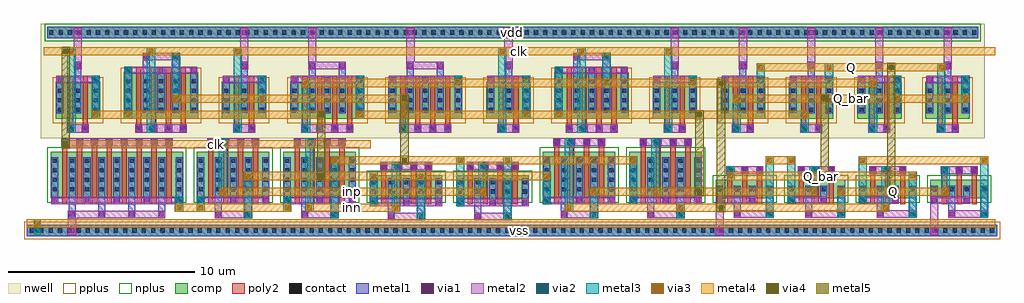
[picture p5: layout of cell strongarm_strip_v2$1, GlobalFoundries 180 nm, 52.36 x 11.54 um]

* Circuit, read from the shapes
.subckt strongarm_strip_v2$1 Q Q_bar clk inn inp vdd vss
XM1 vss clk n1 vss nfet_03v3 w=2.5u l=0.28u m=8
XM2 n2 inp n1 vss nfet_03v3 w=2.5u l=0.28u m=4
XM3 n3 inn n1 vss nfet_03v3 w=2.5u l=0.28u m=4
XM4 n2 inn n2 vss nfet_03v3 w=1.25u l=0.28u m=4
XM5 n3 inp n3 vss nfet_03v3 w=1.25u l=0.28u m=4
XM6 n4 n5 n2 vss nfet_03v3 w=2.5u l=0.28u m=4
XM7 n5 n4 n3 vss nfet_03v3 w=2.5u l=0.28u m=4
XM8 n6 Q_bar vss vss nfet_03v3 w=1u l=0.28u m=3
XM9 Q n4 n6 vss nfet_03v3 w=1u l=0.28u m=3
XM10 Q_bar n5 n7 vss nfet_03v3 w=1u l=0.28u m=3
XM11 n7 Q vss vss nfet_03v3 w=1u l=0.28u m=3
XM12 vdd clk n2 vdd pfet_03v3 w=2u l=0.28u m=2
XM13 n3 clk n2 vdd pfet_03v3 w=2.5u l=0.28u m=4
XM14 vdd clk n3 vdd pfet_03v3 w=2u l=0.28u m=2
XM15 vdd n5 n4 vdd pfet_03v3 w=2u l=0.28u m=4
XM16 vdd n4 n5 vdd pfet_03v3 w=2u l=0.28u m=4
XM17 vdd clk n4 vdd pfet_03v3 w=2u l=0.28u m=2
XM18 n5 clk n4 vdd pfet_03v3 w=2.5u l=0.28u m=4
XM19 vdd clk n5 vdd pfet_03v3 w=2u l=0.28u m=2
XM20 vdd Q_bar Q vdd pfet_03v3 w=2u l=0.28u m=2
XM21 vdd n4 Q vdd pfet_03v3 w=2u l=0.28u m=2
XM22 vdd n5 Q_bar vdd pfet_03v3 w=2u l=0.28u m=2
XM23 vdd Q Q_bar vdd pfet_03v3 w=2u l=0.28u m=2
.ends

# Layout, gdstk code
import gdstk
lib = gdstk.Library(unit=1e-6, precision=1e-09)
def R(c, l, rs):  # rectangles x0, y0, x1, y1
    for r in rs: c.add(gdstk.rectangle(r[:2], r[2:], *l))
def A(c, l, x, y, w, h, nx, ny, dx, dy):  # array of equal rectangles
    R(c, l, [(x+i*dx, y+j*dy, x+i*dx+w, y+j*dy+h) for i in range(nx) for j in range(ny)])
nwell = (21, 0)
comp = (22, 0)
poly2 = (30, 0)
pplus = (31, 0)
nplus = (32, 0)
contact = (33, 0)
metal1 = (34, 0)
via1 = (35, 0)
metal2 = (36, 0)
via2 = (38, 0)
via3 = (40, 0)
via4 = (41, 0)
metal3 = (42, 0)
metal4 = (46, 0)
metal5 = (81, 0)

strongarm_strip_v2_1 = lib.new_cell('strongarm_strip_v2$1')
A(strongarm_strip_v2_1, nwell, 34.02, 6.13, 3.26, 2.88, 5, 1, 3.66, 0)
R(strongarm_strip_v2_1, nwell, [(1.65,5.53,52.27,11.66), (2,6.13,5.26,9.01), (5.66,6.13,10.52,9.51), (10.92,6.13,14.18,9.01), (14.58,6.13,19.44,9.01), (19.84,6.13,24.7,9.01), (25.1,6.13,28.36,9.01), (28.76,6.13,33.62,9.51)])
A(strongarm_strip_v2_1, comp, 38.27, 2.3, 2.26, 1, 4, 1, 3.84, 0)
A(strongarm_strip_v2_1, comp, 34.92, 6.57, 1.46, 2, 5, 1, 3.66, 0)
R(strongarm_strip_v2_1, comp, [(0.9,0.28,52.94,0.88), (2.17,2.3,2.59,4.8), (2.59,2.3,8.85,4.8), (8.85,2.3,9.27,4.8), (10.01,2.3,10.43,4.8), (10.43,2.3,13.49,4.8), (13.49,2.3,13.91,4.8), (14.65,2.3,15.07,4.8), (15.07,2.3,18.13,4.8), (18.13,2.3,18.55,4.8), (19.29,2.3,19.71,3.55), (19.71,2.3,22.77,3.55), (22.77,2.3,23.19,3.55), (23.93,2.3,24.35,3.55), (24.35,2.3,27.41,3.55), (27.41,2.3,27.83,3.55), (28.57,2.3,28.99,4.8), (28.99,2.3,32.05,4.8), (32.05,2.3,32.47,4.8), (33.21,2.3,33.63,4.8), (33.63,2.3,36.69,4.8), (36.69,2.3,37.11,4.8), (37.85,2.3,38.27,3.3), (40.53,2.3,40.95,3.3), (41.69,2.3,42.11,3.3), (44.37,2.3,44.79,3.3), (45.53,2.3,45.95,3.3), (48.21,2.3,48.63,3.3), (49.37,2.3,49.79,3.3), (52.05,2.3,52.47,3.3), (2.44,6.57,2.9,8.57), (2.9,6.57,4.36,8.57), (4.36,6.57,4.82,8.57), (6.1,6.57,6.56,9.07), (6.56,6.57,9.62,9.07), (9.62,6.57,10.08,9.07), (11.36,6.57,11.82,8.57), (11.82,6.57,13.28,8.57), (13.28,6.57,13.74,8.57), (15.02,6.57,15.48,8.57), (15.48,6.57,18.54,8.57), (18.54,6.57,19,8.57), (20.28,6.57,20.74,8.57), (20.74,6.57,23.8,8.57), (23.8,6.57,24.26,8.57), (25.54,6.57,26,8.57), (26,6.57,27.46,8.57), (27.46,6.57,27.92,8.57), (29.2,6.57,29.66,9.07), (29.66,6.57,32.72,9.07), (32.72,6.57,33.18,9.07), (34.46,6.57,34.92,8.57), (36.38,6.57,36.84,8.57), (38.12,6.57,38.58,8.57), (40.04,6.57,40.5,8.57), (41.78,6.57,42.24,8.57), (43.7,6.57,44.16,8.57), (45.44,6.57,45.9,8.57), (47.36,6.57,47.82,8.57), (49.1,6.57,49.56,8.57), (51.02,6.57,51.48,8.57), (2,10.9,51.92,11.5)])
A(strongarm_strip_v2_1, poly2, 2.78, 2, 0.28, 3.1, 8, 1, 0.8, 0)
A(strongarm_strip_v2_1, poly2, 10.62, 2, 0.28, 3.1, 4, 1, 0.8, 0)
A(strongarm_strip_v2_1, poly2, 15.26, 2, 0.28, 3.1, 4, 1, 0.8, 0)
A(strongarm_strip_v2_1, poly2, 19.9, 2, 0.28, 1.85, 4, 1, 0.8, 0)
A(strongarm_strip_v2_1, poly2, 24.54, 2, 0.28, 1.85, 4, 1, 0.8, 0)
A(strongarm_strip_v2_1, poly2, 29.18, 2, 0.28, 3.1, 4, 1, 0.8, 0)
A(strongarm_strip_v2_1, poly2, 33.82, 2, 0.28, 3.1, 4, 1, 0.8, 0)
A(strongarm_strip_v2_1, poly2, 38.46, 2, 0.28, 1.6, 3, 1, 0.8, 0)
A(strongarm_strip_v2_1, poly2, 42.3, 2, 0.28, 1.6, 3, 1, 0.8, 0)
A(strongarm_strip_v2_1, poly2, 46.14, 2, 0.28, 1.6, 3, 1, 0.8, 0)
A(strongarm_strip_v2_1, poly2, 49.98, 2, 0.28, 1.6, 3, 1, 0.8, 0)
A(strongarm_strip_v2_1, poly2, 38.42, 3.6, 0.36, 0.36, 3, 1, 0.8, 0)
A(strongarm_strip_v2_1, poly2, 42.26, 3.6, 0.36, 0.36, 3, 1, 0.8, 0)
A(strongarm_strip_v2_1, poly2, 46.1, 3.6, 0.36, 0.36, 3, 1, 0.8, 0)
A(strongarm_strip_v2_1, poly2, 49.94, 3.6, 0.36, 0.36, 3, 1, 0.8, 0)
A(strongarm_strip_v2_1, poly2, 19.86, 3.85, 0.36, 0.36, 4, 1, 0.8, 0)
A(strongarm_strip_v2_1, poly2, 24.5, 3.85, 0.36, 0.36, 4, 1, 0.8, 0)
A(strongarm_strip_v2_1, poly2, 2.74, 5.1, 0.36, 0.36, 8, 1, 0.8, 0)
A(strongarm_strip_v2_1, poly2, 10.58, 5.1, 0.36, 0.36, 4, 1, 0.8, 0)
A(strongarm_strip_v2_1, poly2, 15.22, 5.1, 0.36, 0.36, 4, 1, 0.8, 0)
A(strongarm_strip_v2_1, poly2, 29.14, 5.1, 0.36, 0.36, 4, 1, 0.8, 0)
A(strongarm_strip_v2_1, poly2, 33.78, 5.1, 0.36, 0.36, 4, 1, 0.8, 0)
A(strongarm_strip_v2_1, poly2, 6.7, 5.89, 0.38, 0.38, 4, 1, 0.8, 0)
A(strongarm_strip_v2_1, poly2, 15.62, 5.89, 0.38, 0.38, 4, 1, 0.8, 0)
A(strongarm_strip_v2_1, poly2, 20.88, 5.89, 0.38, 0.38, 4, 1, 0.8, 0)
A(strongarm_strip_v2_1, poly2, 29.8, 5.89, 0.38, 0.38, 4, 1, 0.8, 0)
A(strongarm_strip_v2_1, poly2, 6.75, 6.27, 0.28, 3.1, 4, 1, 0.8, 0)
A(strongarm_strip_v2_1, poly2, 15.67, 6.27, 0.28, 2.6, 4, 1, 0.8, 0)
A(strongarm_strip_v2_1, poly2, 20.93, 6.27, 0.28, 2.6, 4, 1, 0.8, 0)
A(strongarm_strip_v2_1, poly2, 29.85, 6.27, 0.28, 3.1, 4, 1, 0.8, 0)
R(strongarm_strip_v2_1, poly2, [(3.04,5.89,3.42,6.27), (3.84,5.89,4.22,6.27), (11.96,5.89,12.34,6.27), (12.76,5.89,13.14,6.27), (26.14,5.89,26.52,6.27), (26.94,5.89,27.32,6.27), (35.06,5.89,35.44,6.27), (35.86,5.89,36.24,6.27), (38.72,5.89,39.1,6.27), (39.52,5.89,39.9,6.27), (42.38,5.89,42.76,6.27), (43.18,5.89,43.56,6.27), (46.04,5.89,46.42,6.27), (46.84,5.89,47.22,6.27), (49.7,5.89,50.08,6.27), (50.5,5.89,50.88,6.27), (3.09,6.27,3.37,8.87), (3.89,6.27,4.17,8.87), (12.01,6.27,12.29,8.87), (12.81,6.27,13.09,8.87), (26.19,6.27,26.47,8.87), (26.99,6.27,27.27,8.87), (35.11,6.27,35.39,8.87), (35.91,6.27,36.19,8.87), (38.77,6.27,39.05,8.87), (39.57,6.27,39.85,8.87), (42.43,6.27,42.71,8.87), (43.23,6.27,43.51,8.87), (46.09,6.27,46.37,8.87), (46.89,6.27,47.17,8.87), (49.75,6.27,50.03,8.87), (50.55,6.27,50.83,8.87)])
A(strongarm_strip_v2_1, pplus, 34.29, 6.33, 2.72, 2.48, 5, 1, 3.66, 0)
R(strongarm_strip_v2_1, pplus, [(0.74,0.12,53.1,1.04), (2.27,6.33,4.99,8.81), (5.93,6.33,10.25,9.31), (11.19,6.33,13.91,8.81), (14.85,6.33,19.17,8.81), (20.11,6.33,24.43,8.81), (25.37,6.33,28.09,8.81), (29.03,6.33,33.35,9.31)])
A(strongarm_strip_v2_1, nplus, 37.68, 2.06, 3.44, 1.48, 4, 1, 3.84, 0)
R(strongarm_strip_v2_1, nplus, [(2,2.06,9.44,5.04), (9.84,2.06,14.08,5.04), (14.48,2.06,18.72,5.04), (19.12,2.06,23.36,3.79), (23.76,2.06,28,3.79), (28.4,2.06,32.64,5.04), (33.04,2.06,37.28,5.04), (1.84,10.74,52.08,11.66)])
A(strongarm_strip_v2_1, contact, 1.06, 0.47, 0.22, 0.22, 104, 1, 0.5, 0)
A(strongarm_strip_v2_1, contact, 20.33, 2.56, 0.22, 0.22, 3, 2, 0.8, 0.51)
A(strongarm_strip_v2_1, contact, 24.97, 2.56, 0.22, 0.22, 3, 2, 0.8, 0.51)
A(strongarm_strip_v2_1, contact, 2.27, 2.675, 0.22, 0.22, 1, 4, 0, 0.51)
A(strongarm_strip_v2_1, contact, 3.21, 2.675, 0.22, 0.22, 7, 4, 0.8, 0.51)
A(strongarm_strip_v2_1, contact, 8.95, 2.675, 0.22, 0.22, 1, 4, 0, 0.51)
A(strongarm_strip_v2_1, contact, 10.11, 2.675, 0.22, 0.22, 1, 4, 0, 0.51)
A(strongarm_strip_v2_1, contact, 11.05, 2.675, 0.22, 0.22, 3, 4, 0.8, 0.51)
A(strongarm_strip_v2_1, contact, 13.59, 2.675, 0.22, 0.22, 1, 4, 0, 0.51)
A(strongarm_strip_v2_1, contact, 14.75, 2.675, 0.22, 0.22, 1, 4, 0, 0.51)
A(strongarm_strip_v2_1, contact, 15.69, 2.675, 0.22, 0.22, 3, 4, 0.8, 0.51)
A(strongarm_strip_v2_1, contact, 18.23, 2.675, 0.22, 0.22, 1, 4, 0, 0.51)
A(strongarm_strip_v2_1, contact, 28.67, 2.675, 0.22, 0.22, 1, 4, 0, 0.51)
A(strongarm_strip_v2_1, contact, 29.61, 2.675, 0.22, 0.22, 3, 4, 0.8, 0.51)
A(strongarm_strip_v2_1, contact, 32.15, 2.675, 0.22, 0.22, 1, 4, 0, 0.51)
A(strongarm_strip_v2_1, contact, 33.31, 2.675, 0.22, 0.22, 1, 4, 0, 0.51)
A(strongarm_strip_v2_1, contact, 34.25, 2.675, 0.22, 0.22, 3, 4, 0.8, 0.51)
A(strongarm_strip_v2_1, contact, 36.79, 2.675, 0.22, 0.22, 1, 4, 0, 0.51)
A(strongarm_strip_v2_1, contact, 38.49, 3.67, 0.22, 0.22, 3, 1, 0.8, 0)
A(strongarm_strip_v2_1, contact, 42.33, 3.67, 0.22, 0.22, 3, 1, 0.8, 0)
A(strongarm_strip_v2_1, contact, 46.17, 3.67, 0.22, 0.22, 3, 1, 0.8, 0)
A(strongarm_strip_v2_1, contact, 50.01, 3.67, 0.22, 0.22, 3, 1, 0.8, 0)
A(strongarm_strip_v2_1, contact, 19.93, 3.92, 0.22, 0.22, 4, 1, 0.8, 0)
A(strongarm_strip_v2_1, contact, 24.57, 3.92, 0.22, 0.22, 4, 1, 0.8, 0)
A(strongarm_strip_v2_1, contact, 2.81, 5.17, 0.22, 0.22, 8, 1, 0.8, 0)
A(strongarm_strip_v2_1, contact, 10.65, 5.17, 0.22, 0.22, 4, 1, 0.8, 0)
A(strongarm_strip_v2_1, contact, 15.29, 5.17, 0.22, 0.22, 4, 1, 0.8, 0)
A(strongarm_strip_v2_1, contact, 29.21, 5.17, 0.22, 0.22, 4, 1, 0.8, 0)
A(strongarm_strip_v2_1, contact, 33.85, 5.17, 0.22, 0.22, 4, 1, 0.8, 0)
A(strongarm_strip_v2_1, contact, 6.78, 5.97, 0.22, 0.22, 4, 1, 0.8, 0)
A(strongarm_strip_v2_1, contact, 15.7, 5.97, 0.22, 0.22, 4, 1, 0.8, 0)
A(strongarm_strip_v2_1, contact, 20.96, 5.97, 0.22, 0.22, 4, 1, 0.8, 0)
A(strongarm_strip_v2_1, contact, 29.88, 5.97, 0.22, 0.22, 4, 1, 0.8, 0)
A(strongarm_strip_v2_1, contact, 6.22, 6.945, 0.22, 0.22, 1, 4, 0, 0.51)
A(strongarm_strip_v2_1, contact, 7.18, 6.945, 0.22, 0.22, 3, 4, 0.8, 0.51)
A(strongarm_strip_v2_1, contact, 9.74, 6.945, 0.22, 0.22, 1, 4, 0, 0.51)
A(strongarm_strip_v2_1, contact, 29.32, 6.945, 0.22, 0.22, 1, 4, 0, 0.51)
A(strongarm_strip_v2_1, contact, 30.28, 6.945, 0.22, 0.22, 3, 4, 0.8, 0.51)
A(strongarm_strip_v2_1, contact, 32.84, 6.945, 0.22, 0.22, 1, 4, 0, 0.51)
A(strongarm_strip_v2_1, contact, 2.56, 6.95, 0.22, 0.22, 3, 3, 0.96, 0.51)
A(strongarm_strip_v2_1, contact, 11.48, 6.95, 0.22, 0.22, 3, 3, 0.96, 0.51)
A(strongarm_strip_v2_1, contact, 15.14, 6.95, 0.22, 0.22, 1, 3, 0, 0.51)
A(strongarm_strip_v2_1, contact, 16.1, 6.95, 0.22, 0.22, 3, 3, 0.8, 0.51)
A(strongarm_strip_v2_1, contact, 18.66, 6.95, 0.22, 0.22, 1, 3, 0, 0.51)
A(strongarm_strip_v2_1, contact, 20.4, 6.95, 0.22, 0.22, 1, 3, 0, 0.51)
A(strongarm_strip_v2_1, contact, 21.36, 6.95, 0.22, 0.22, 3, 3, 0.8, 0.51)
A(strongarm_strip_v2_1, contact, 23.92, 6.95, 0.22, 0.22, 1, 3, 0, 0.51)
A(strongarm_strip_v2_1, contact, 25.66, 6.95, 0.22, 0.22, 3, 3, 0.96, 0.51)
A(strongarm_strip_v2_1, contact, 34.58, 6.95, 0.22, 0.22, 3, 3, 0.96, 0.51)
A(strongarm_strip_v2_1, contact, 38.24, 6.95, 0.22, 0.22, 3, 3, 0.96, 0.51)
A(strongarm_strip_v2_1, contact, 41.9, 6.95, 0.22, 0.22, 3, 3, 0.96, 0.51)
A(strongarm_strip_v2_1, contact, 45.56, 6.95, 0.22, 0.22, 3, 3, 0.96, 0.51)
A(strongarm_strip_v2_1, contact, 49.22, 6.95, 0.22, 0.22, 3, 3, 0.96, 0.51)
A(strongarm_strip_v2_1, contact, 2.1, 11.09, 0.22, 0.22, 100, 1, 0.5, 0)
R(strongarm_strip_v2_1, contact, [(19.39,2.56,19.61,2.78), (22.87,2.56,23.09,2.78), (24.03,2.56,24.25,2.78), (27.51,2.56,27.73,2.78), (37.95,2.69,38.17,2.91), (38.89,2.69,39.11,2.91), (39.69,2.69,39.91,2.91), (40.63,2.69,40.85,2.91), (41.79,2.69,42.01,2.91), (42.73,2.69,42.95,2.91), (43.53,2.69,43.75,2.91), (44.47,2.69,44.69,2.91), (45.63,2.69,45.85,2.91), (46.57,2.69,46.79,2.91), (47.37,2.69,47.59,2.91), (48.31,2.69,48.53,2.91), (49.47,2.69,49.69,2.91), (50.41,2.69,50.63,2.91), (51.21,2.69,51.43,2.91), (52.15,2.69,52.37,2.91), (19.39,3.07,19.61,3.29), (22.87,3.07,23.09,3.29), (24.03,3.07,24.25,3.29), (27.51,3.07,27.73,3.29), (3.12,5.97,3.34,6.19), (3.92,5.97,4.14,6.19), (12.04,5.97,12.26,6.19), (12.84,5.97,13.06,6.19), (26.22,5.97,26.44,6.19), (27.02,5.97,27.24,6.19), (35.14,5.97,35.36,6.19), (35.94,5.97,36.16,6.19), (38.8,5.97,39.02,6.19), (39.6,5.97,39.82,6.19), (42.46,5.97,42.68,6.19), (43.26,5.97,43.48,6.19), (46.12,5.97,46.34,6.19), (46.92,5.97,47.14,6.19), (49.78,5.97,50,6.19), (50.58,5.97,50.8,6.19)])
A(strongarm_strip_v2_1, metal1, 3.13, 1.245, 0.38, 1.4, 4, 1, 1.6, 0)
A(strongarm_strip_v2_1, metal1, 19.31, 1.88, 0.38, 0.65, 3, 1, 1.74, 0)
A(strongarm_strip_v2_1, metal1, 23.95, 1.88, 0.38, 0.65, 3, 1, 1.74, 0)
A(strongarm_strip_v2_1, metal1, 3.93, 1.995, 0.38, 0.65, 3, 1, 1.6, 0)
A(strongarm_strip_v2_1, metal1, 10.03, 1.995, 0.38, 0.65, 3, 1, 1.74, 0)
A(strongarm_strip_v2_1, metal1, 14.67, 1.995, 0.38, 0.65, 3, 1, 1.74, 0)
A(strongarm_strip_v2_1, metal1, 28.59, 1.995, 0.38, 0.65, 3, 1, 1.74, 0)
A(strongarm_strip_v2_1, metal1, 33.23, 1.995, 0.38, 0.65, 3, 1, 1.74, 0)
A(strongarm_strip_v2_1, metal1, 20.25, 2.48, 0.38, 0.89, 3, 1, 0.8, 0)
A(strongarm_strip_v2_1, metal1, 24.89, 2.48, 0.38, 0.89, 3, 1, 0.8, 0)
A(strongarm_strip_v2_1, metal1, 3.13, 2.595, 0.38, 1.91, 7, 1, 0.8, 0)
A(strongarm_strip_v2_1, metal1, 10.97, 2.595, 0.38, 1.91, 3, 1, 0.8, 0)
A(strongarm_strip_v2_1, metal1, 15.61, 2.595, 0.38, 1.91, 3, 1, 0.8, 0)
A(strongarm_strip_v2_1, metal1, 29.53, 2.595, 0.38, 1.91, 3, 1, 0.8, 0)
A(strongarm_strip_v2_1, metal1, 34.17, 2.595, 0.38, 1.91, 3, 1, 0.8, 0)
A(strongarm_strip_v2_1, metal1, 38.41, 3.59, 0.38, 0.38, 3, 1, 0.8, 0)
A(strongarm_strip_v2_1, metal1, 42.25, 3.59, 0.38, 0.38, 3, 1, 0.8, 0)
A(strongarm_strip_v2_1, metal1, 46.09, 3.59, 0.38, 0.38, 3, 1, 0.8, 0)
A(strongarm_strip_v2_1, metal1, 49.93, 3.59, 0.38, 0.38, 3, 1, 0.8, 0)
A(strongarm_strip_v2_1, metal1, 19.85, 3.84, 0.38, 0.38, 4, 1, 0.8, 0)
A(strongarm_strip_v2_1, metal1, 24.49, 3.84, 0.38, 0.38, 4, 1, 0.8, 0)
A(strongarm_strip_v2_1, metal1, 2.73, 5.09, 0.38, 0.38, 8, 1, 0.8, 0)
A(strongarm_strip_v2_1, metal1, 10.57, 5.09, 0.38, 0.38, 4, 1, 0.8, 0)
A(strongarm_strip_v2_1, metal1, 15.21, 5.09, 0.38, 0.38, 4, 1, 0.8, 0)
A(strongarm_strip_v2_1, metal1, 29.13, 5.09, 0.38, 0.38, 4, 1, 0.8, 0)
A(strongarm_strip_v2_1, metal1, 33.77, 5.09, 0.38, 0.38, 4, 1, 0.8, 0)
A(strongarm_strip_v2_1, metal1, 6.7, 5.89, 0.38, 0.38, 4, 1, 0.8, 0)
A(strongarm_strip_v2_1, metal1, 15.62, 5.89, 0.38, 0.38, 4, 1, 0.8, 0)
A(strongarm_strip_v2_1, metal1, 20.88, 5.89, 0.38, 0.38, 4, 1, 0.8, 0)
A(strongarm_strip_v2_1, metal1, 29.8, 5.89, 0.38, 0.38, 4, 1, 0.8, 0)
A(strongarm_strip_v2_1, metal1, 7.1, 6.865, 0.38, 1.91, 3, 1, 0.8, 0)
A(strongarm_strip_v2_1, metal1, 30.2, 6.865, 0.38, 1.91, 3, 1, 0.8, 0)
A(strongarm_strip_v2_1, metal1, 2.48, 6.87, 0.38, 1.4, 3, 1, 0.96, 0)
A(strongarm_strip_v2_1, metal1, 11.4, 6.87, 0.38, 1.4, 3, 1, 0.96, 0)
A(strongarm_strip_v2_1, metal1, 16.02, 6.87, 0.38, 1.4, 3, 1, 0.8, 0)
A(strongarm_strip_v2_1, metal1, 21.28, 6.87, 0.38, 1.4, 3, 1, 0.8, 0)
A(strongarm_strip_v2_1, metal1, 25.58, 6.87, 0.38, 1.4, 3, 1, 0.96, 0)
A(strongarm_strip_v2_1, metal1, 34.5, 6.87, 0.38, 1.4, 3, 1, 0.96, 0)
A(strongarm_strip_v2_1, metal1, 38.16, 6.87, 0.38, 1.4, 3, 1, 0.96, 0)
A(strongarm_strip_v2_1, metal1, 41.82, 6.87, 0.38, 1.4, 3, 1, 0.96, 0)
A(strongarm_strip_v2_1, metal1, 45.48, 6.87, 0.38, 1.4, 3, 1, 0.96, 0)
A(strongarm_strip_v2_1, metal1, 49.14, 6.87, 0.38, 1.4, 3, 1, 0.96, 0)
A(strongarm_strip_v2_1, metal1, 15.06, 8.22, 0.38, 0.65, 3, 1, 1.76, 0)
A(strongarm_strip_v2_1, metal1, 20.32, 8.22, 0.38, 0.65, 3, 1, 1.76, 0)
A(strongarm_strip_v2_1, metal1, 35.46, 8.22, 0.38, 1.4, 5, 1, 3.66, 0)
A(strongarm_strip_v2_1, metal1, 6.14, 8.725, 0.38, 0.65, 3, 1, 1.76, 0)
A(strongarm_strip_v2_1, metal1, 29.24, 8.725, 0.38, 0.65, 3, 1, 1.76, 0)
R(strongarm_strip_v2_1, metal1, [(0.9,0.28,52.94,0.88), (20.25,1.13,20.63,2.53), (21.85,1.13,22.23,2.53), (24.89,1.13,25.27,2.53), (26.49,1.13,26.87,2.53), (10.97,1.245,11.35,2.645), (12.57,1.245,12.95,2.645), (15.61,1.245,15.99,2.645), (17.21,1.245,17.59,2.645), (29.53,1.245,29.91,2.645), (31.13,1.245,31.51,2.645), (34.17,1.245,34.55,2.645), (35.77,1.245,36.15,2.645), (38.81,1.26,39.19,2.66), (40.55,1.26,40.93,2.66), (42.65,1.26,43.03,2.66), (44.39,1.26,44.77,2.66), (46.49,1.26,46.87,2.66), (48.23,1.26,48.61,2.66), (50.33,1.26,50.71,2.66), (52.07,1.26,52.45,2.66), (2.19,1.995,2.57,2.645), (8.87,1.995,9.25,2.645), (37.87,2.01,38.25,2.66), (39.61,2.01,39.99,2.66), (41.71,2.01,42.09,2.66), (43.45,2.01,43.83,2.66), (45.55,2.01,45.93,2.66), (47.29,2.01,47.67,2.66), (49.39,2.01,49.77,2.66), (51.13,2.01,51.51,2.66), (19.31,2.48,19.69,3.37), (22.79,2.48,23.17,3.37), (23.95,2.48,24.33,3.37), (27.43,2.48,27.81,3.37), (2.19,2.595,2.57,4.505), (8.87,2.595,9.25,4.505), (10.03,2.595,10.41,4.505), (13.51,2.595,13.89,4.505), (14.67,2.595,15.05,4.505), (18.15,2.595,18.53,4.505), (28.59,2.595,28.97,4.505), (32.07,2.595,32.45,4.505), (33.23,2.595,33.61,4.505), (36.71,2.595,37.09,4.505), (37.87,2.61,38.25,2.99), (38.81,2.61,39.19,2.99), (39.61,2.61,39.99,2.99), (40.55,2.61,40.93,2.99), (41.71,2.61,42.09,2.99), (42.65,2.61,43.03,2.99), (43.45,2.61,43.83,2.99), (44.39,2.61,44.77,2.99), (45.55,2.61,45.93,2.99), (46.49,2.61,46.87,2.99), (47.29,2.61,47.67,2.99), (48.23,2.61,48.61,2.99), (49.39,2.61,49.77,2.99), (50.33,2.61,50.71,2.99), (51.13,2.61,51.51,2.99), (52.07,2.61,52.45,2.99), (3.04,5.89,3.42,6.27), (3.84,5.89,4.22,6.27), (11.96,5.89,12.34,6.27), (12.76,5.89,13.14,6.27), (26.14,5.89,26.52,6.27), (26.94,5.89,27.32,6.27), (35.06,5.89,35.44,6.27), (35.86,5.89,36.24,6.27), (38.72,5.89,39.1,6.27), (39.52,5.89,39.9,6.27), (42.38,5.89,42.76,6.27), (43.18,5.89,43.56,6.27), (46.04,5.89,46.42,6.27), (46.84,5.89,47.22,6.27), (49.7,5.89,50.08,6.27), (50.5,5.89,50.88,6.27), (6.14,6.865,6.52,8.775), (9.66,6.865,10.04,8.775), (29.24,6.865,29.62,8.775), (32.76,6.865,33.14,8.775), (15.06,6.87,15.44,8.27), (18.58,6.87,18.96,8.27), (20.32,6.87,20.7,8.27), (23.84,6.87,24.22,8.27), (2.48,8.22,2.86,8.87), (3.44,8.22,3.82,9.62), (4.4,8.22,4.78,8.87), (11.4,8.22,11.78,8.87), (12.36,8.22,12.74,9.62), (13.32,8.22,13.7,8.87), (16.02,8.22,16.4,9.62), (17.62,8.22,18,9.62), (21.28,8.22,21.66,9.62), (22.88,8.22,23.26,9.62), (25.58,8.22,25.96,8.87), (26.54,8.22,26.92,9.62), (27.5,8.22,27.88,8.87), (34.5,8.22,34.88,8.87), (36.42,8.22,36.8,8.87), (38.16,8.22,38.54,8.87), (40.08,8.22,40.46,8.87), (41.82,8.22,42.2,8.87), (43.74,8.22,44.12,8.87), (45.48,8.22,45.86,8.87), (47.4,8.22,47.78,8.87), (49.14,8.22,49.52,8.87), (51.06,8.22,51.44,8.87), (7.1,8.725,7.48,10.125), (8.7,8.725,9.08,10.125), (30.2,8.725,30.58,10.125), (31.8,8.725,32.18,10.125), (2,10.9,51.92,11.5)])
A(strongarm_strip_v2_1, via1, 3.19, 1.315, 0.26, 0.26, 4, 1, 1.6, 0)
A(strongarm_strip_v2_1, via1, 19.37, 1.95, 0.26, 0.26, 3, 1, 1.74, 0)
A(strongarm_strip_v2_1, via1, 24.01, 1.95, 0.26, 0.26, 3, 1, 1.74, 0)
A(strongarm_strip_v2_1, via1, 3.99, 2.065, 0.26, 0.26, 3, 1, 1.6, 0)
A(strongarm_strip_v2_1, via1, 10.09, 2.065, 0.26, 0.26, 3, 1, 1.74, 0)
A(strongarm_strip_v2_1, via1, 14.73, 2.065, 0.26, 0.26, 3, 1, 1.74, 0)
A(strongarm_strip_v2_1, via1, 28.65, 2.065, 0.26, 0.26, 3, 1, 1.74, 0)
A(strongarm_strip_v2_1, via1, 33.29, 2.065, 0.26, 0.26, 3, 1, 1.74, 0)
A(strongarm_strip_v2_1, via1, 38.47, 3.65, 0.26, 0.26, 3, 1, 0.8, 0)
A(strongarm_strip_v2_1, via1, 42.31, 3.65, 0.26, 0.26, 3, 1, 0.8, 0)
A(strongarm_strip_v2_1, via1, 46.15, 3.65, 0.26, 0.26, 3, 1, 0.8, 0)
A(strongarm_strip_v2_1, via1, 49.99, 3.65, 0.26, 0.26, 3, 1, 0.8, 0)
A(strongarm_strip_v2_1, via1, 19.91, 3.9, 0.26, 0.26, 4, 1, 0.8, 0)
A(strongarm_strip_v2_1, via1, 24.55, 3.9, 0.26, 0.26, 4, 1, 0.8, 0)
A(strongarm_strip_v2_1, via1, 2.79, 5.15, 0.26, 0.26, 8, 1, 0.8, 0)
A(strongarm_strip_v2_1, via1, 10.63, 5.15, 0.26, 0.26, 4, 1, 0.8, 0)
A(strongarm_strip_v2_1, via1, 15.27, 5.15, 0.26, 0.26, 4, 1, 0.8, 0)
A(strongarm_strip_v2_1, via1, 29.19, 5.15, 0.26, 0.26, 4, 1, 0.8, 0)
A(strongarm_strip_v2_1, via1, 33.83, 5.15, 0.26, 0.26, 4, 1, 0.8, 0)
A(strongarm_strip_v2_1, via1, 6.76, 5.95, 0.26, 0.26, 4, 1, 0.8, 0)
A(strongarm_strip_v2_1, via1, 15.68, 5.95, 0.26, 0.26, 4, 1, 0.8, 0)
A(strongarm_strip_v2_1, via1, 20.94, 5.95, 0.26, 0.26, 4, 1, 0.8, 0)
A(strongarm_strip_v2_1, via1, 29.86, 5.95, 0.26, 0.26, 4, 1, 0.8, 0)
A(strongarm_strip_v2_1, via1, 15.12, 8.54, 0.26, 0.26, 3, 1, 1.76, 0)
A(strongarm_strip_v2_1, via1, 20.38, 8.54, 0.26, 0.26, 3, 1, 1.76, 0)
A(strongarm_strip_v2_1, via1, 6.2, 9.045, 0.26, 0.26, 3, 1, 1.76, 0)
A(strongarm_strip_v2_1, via1, 29.3, 9.045, 0.26, 0.26, 3, 1, 1.76, 0)
A(strongarm_strip_v2_1, via1, 35.52, 9.29, 0.26, 0.26, 5, 2, 3.66, 1.78)
A(strongarm_strip_v2_1, via1, 16.08, 11.07, 0.26, 0.26, 3, 1, 5.26, 0)
R(strongarm_strip_v2_1, via1, [(1.32,0.45,1.58,0.71), (3.19,0.45,3.45,0.71), (37.93,0.45,38.19,0.71), (49.45,0.45,49.71,0.71), (20.31,1.2,20.57,1.46), (21.91,1.2,22.17,1.46), (24.95,1.2,25.21,1.46), (26.55,1.2,26.81,1.46), (11.03,1.315,11.29,1.575), (12.63,1.315,12.89,1.575), (15.67,1.315,15.93,1.575), (17.27,1.315,17.53,1.575), (29.59,1.315,29.85,1.575), (31.19,1.315,31.45,1.575), (34.23,1.315,34.49,1.575), (35.83,1.315,36.09,1.575), (38.87,1.33,39.13,1.59), (40.61,1.33,40.87,1.59), (42.71,1.33,42.97,1.59), (44.45,1.33,44.71,1.59), (46.55,1.33,46.81,1.59), (48.29,1.33,48.55,1.59), (50.39,1.33,50.65,1.59), (52.13,1.33,52.39,1.59), (2.25,2.065,2.51,2.325), (8.93,2.065,9.19,2.325), (37.93,2.08,38.19,2.34), (39.67,2.08,39.93,2.34), (41.77,2.08,42.03,2.34), (43.51,2.08,43.77,2.34), (45.61,2.08,45.87,2.34), (47.35,2.08,47.61,2.34), (49.45,2.08,49.71,2.34), (51.19,2.08,51.45,2.34), (3.1,5.95,3.36,6.21), (3.9,5.95,4.16,6.21), (12.02,5.95,12.28,6.21), (12.82,5.95,13.08,6.21), (26.2,5.95,26.46,6.21), (27,5.95,27.26,6.21), (35.12,5.95,35.38,6.21), (35.92,5.95,36.18,6.21), (38.78,5.95,39.04,6.21), (39.58,5.95,39.84,6.21), (42.44,5.95,42.7,6.21), (43.24,5.95,43.5,6.21), (46.1,5.95,46.36,6.21), (46.9,5.95,47.16,6.21), (49.76,5.95,50.02,6.21), (50.56,5.95,50.82,6.21), (2.54,8.54,2.8,8.8), (4.46,8.54,4.72,8.8), (11.46,8.54,11.72,8.8), (13.38,8.54,13.64,8.8), (25.64,8.54,25.9,8.8), (27.56,8.54,27.82,8.8), (34.56,8.54,34.82,8.8), (36.48,8.54,36.74,8.8), (38.22,8.54,38.48,8.8), (40.14,8.54,40.4,8.8), (41.88,8.54,42.14,8.8), (43.8,8.54,44.06,8.8), (45.54,8.54,45.8,8.8), (47.46,8.54,47.72,8.8), (49.2,8.54,49.46,8.8), (51.12,8.54,51.38,8.8), (3.5,9.29,3.76,9.55), (12.42,9.29,12.68,9.55), (16.08,9.29,16.34,9.55), (17.68,9.29,17.94,9.55), (21.34,9.29,21.6,9.55), (22.94,9.29,23.2,9.55), (26.6,9.29,26.86,9.55), (7.16,9.795,7.42,10.055), (8.76,9.795,9.02,10.055), (30.26,9.795,30.52,10.055), (31.86,9.795,32.12,10.055), (3.5,11.07,3.76,11.33), (12.42,11.07,12.68,11.33)])
A(strongarm_strip_v2_1, metal2, 38.81, 1.26, 2.12, 0.4, 4, 1, 3.84, 0)
A(strongarm_strip_v2_1, metal2, 37.87, 2.01, 2.12, 0.4, 4, 1, 3.84, 0)
A(strongarm_strip_v2_1, metal2, 38.41, 3.59, 1.98, 0.44, 4, 1, 3.84, 0)
A(strongarm_strip_v2_1, metal2, 35.06, 5.83, 1.18, 0.44, 5, 1, 3.66, 0)
A(strongarm_strip_v2_1, metal2, 34.5, 8.47, 2.3, 0.4, 5, 1, 3.66, 0)
A(strongarm_strip_v2_1, metal2, 15.99, 9.22, 0.44, 2.23, 3, 1, 5.26, 0)
A(strongarm_strip_v2_1, metal2, 35.43, 9.22, 0.44, 2.23, 5, 1, 3.66, 0)
A(strongarm_strip_v2_1, metal2, 35.46, 9.22, 0.38, 0.4, 5, 1, 3.66, 0)
R(strongarm_strip_v2_1, metal2, [(3.1,0.33,3.54,1.645), (37.84,0.33,38.28,2.41), (49.36,0.33,49.8,2.41), (1.25,0.36,1.65,1.17), (20.25,1.13,22.23,1.53), (24.89,1.13,26.87,1.53), (3.13,1.245,8.31,1.645), (10.97,1.245,12.95,1.645), (15.61,1.245,17.59,1.645), (29.53,1.245,31.51,1.645), (34.17,1.245,36.15,1.645), (19.31,1.88,23.17,2.28), (23.95,1.88,27.81,2.28), (2.19,1.995,9.25,2.395), (10.03,1.995,13.89,2.395), (14.67,1.995,18.53,2.395), (28.59,1.995,32.45,2.395), (33.23,1.995,37.09,2.395), (19.85,3.84,22.63,4.28), (24.49,3.84,27.27,4.28), (2.73,5.09,8.71,5.53), (10.57,5.09,13.35,5.53), (15.21,5.09,17.99,5.53), (29.13,5.09,31.91,5.53), (33.77,5.09,36.55,5.53), (3.04,5.83,4.22,6.27), (6.7,5.83,9.48,6.27), (11.96,5.83,13.14,6.27), (15.62,5.83,18.4,6.27), (20.88,5.83,23.66,6.27), (26.14,5.83,27.32,6.27), (29.8,5.83,32.58,6.27), (2.48,8.47,4.78,8.87), (11.4,8.47,13.7,8.87), (15.06,8.47,18.96,8.87), (20.32,8.47,24.22,8.87), (25.58,8.47,27.88,8.87), (6.14,8.975,10.04,9.375), (29.24,8.975,33.14,9.375), (3.41,9.22,3.85,11.45), (3.44,9.22,3.82,9.62), (12.33,9.22,12.77,11.45), (12.36,9.22,12.74,9.62), (16.02,9.22,18,9.62), (21.28,9.22,23.26,9.62), (26.54,9.22,26.92,9.62), (7.1,9.725,9.08,10.125), (30.2,9.725,32.18,10.125)])
A(strongarm_strip_v2_1, via2, 40.61, 1.33, 0.26, 0.26, 4, 1, 3.84, 0)
A(strongarm_strip_v2_1, via2, 15.74, 5.92, 0.26, 0.26, 3, 1, 5.26, 0)
A(strongarm_strip_v2_1, via2, 35.18, 5.92, 0.26, 0.26, 5, 1, 3.66, 0)
A(strongarm_strip_v2_1, via2, 13.38, 8.54, 0.26, 0.26, 3, 1, 5.26, 0)
A(strongarm_strip_v2_1, via2, 36.48, 8.54, 0.26, 0.26, 5, 1, 3.66, 0)
R(strongarm_strip_v2_1, via2, [(1.32,0.45,1.58,0.71), (21.91,1.2,22.17,1.46), (26.55,1.2,26.81,1.46), (12.63,1.315,12.89,1.575), (17.27,1.315,17.53,1.575), (31.19,1.315,31.45,1.575), (35.83,1.315,36.09,1.575), (19.37,1.95,19.63,2.21), (24.01,1.95,24.27,2.21), (8.93,2.065,9.19,2.325), (10.09,2.065,10.35,2.325), (14.73,2.065,14.99,2.325), (28.65,2.065,28.91,2.325), (33.29,2.065,33.55,2.325), (41.77,2.08,42.03,2.34), (45.61,2.08,45.87,2.34), (38.53,3.68,38.79,3.94), (42.97,3.68,43.23,3.94), (46.81,3.68,47.07,3.94), (50.05,3.68,50.31,3.94), (20.57,3.93,20.83,4.19), (25.21,3.93,25.47,4.19), (2.85,5.18,3.11,5.44), (11.29,5.18,11.55,5.44), (15.93,5.18,16.19,5.44), (29.85,5.18,30.11,5.44), (34.49,5.18,34.75,5.44), (3.16,5.92,3.42,6.18), (7.42,5.92,7.68,6.18), (12.08,5.92,12.34,6.18), (30.52,5.92,30.78,6.18), (4.46,8.54,4.72,8.8), (27.56,8.54,27.82,8.8), (6.2,9.045,6.46,9.305), (29.3,9.045,29.56,9.305), (8.76,9.795,9.02,10.055), (31.86,9.795,32.12,10.055)])
R(strongarm_strip_v2_1, via3, [(1.32,0.82,1.58,1.08), (8.93,1.67,9.19,1.93), (10.09,1.67,10.35,1.93), (14.73,1.67,14.99,1.93), (15.93,1.67,16.19,1.93), (20.57,1.67,20.83,1.93), (29.85,1.67,30.11,1.93), (35.83,1.67,36.09,1.93), (46.81,1.67,47.07,1.93), (11.29,2.52,11.55,2.78), (25.21,2.52,25.47,2.78), (31.19,2.52,31.45,2.78), (34.49,2.52,34.75,2.78), (42.97,2.52,43.23,2.78), (44.45,2.52,44.71,2.78), (50.05,2.52,50.31,2.78), (12.63,3.37,12.89,3.63), (19.37,3.37,19.63,3.63), (21.91,3.37,22.17,3.63), (28.65,3.37,28.91,3.63), (38.53,3.37,38.79,3.63), (48.29,3.37,48.55,3.63), (17.27,4.22,17.53,4.48), (24.01,4.22,24.27,4.48), (26.55,4.22,26.81,4.48), (33.29,4.22,33.55,4.48), (40.61,4.22,40.87,4.48), (41.77,4.22,42.03,4.48), (45.61,4.22,45.87,4.48), (52.13,4.22,52.39,4.48), (2.85,5.07,3.11,5.33), (4.46,6.66,4.72,6.92), (6.2,6.66,6.46,6.92), (18.64,6.66,18.9,6.92), (21,6.66,21.26,6.92), (27.56,6.66,27.82,6.92), (29.3,6.66,29.56,6.92), (42.5,6.66,42.76,6.92), (8.76,7.51,9.02,7.77), (13.38,7.51,13.64,7.77), (38.84,7.51,39.1,7.77), (47.46,7.51,47.72,7.77), (51.12,7.51,51.38,7.77), (15.74,8.36,16,8.62), (23.9,8.36,24.16,8.62), (31.86,8.36,32.12,8.62), (36.48,8.36,36.74,8.62), (46.16,8.36,46.42,8.62), (40.14,9.21,40.4,9.47), (43.8,9.21,44.06,9.47), (49.82,9.21,50.08,9.47), (3.16,10.06,3.42,10.32), (7.42,10.06,7.68,10.32), (12.08,10.06,12.34,10.32), (26.26,10.06,26.52,10.32), (30.52,10.06,30.78,10.32), (35.18,10.06,35.44,10.32)])
R(strongarm_strip_v2_1, via4, [(38.005,1.67,38.265,1.93), (36.845,2.52,37.105,2.78), (47.135,2.52,47.395,2.78), (16.555,3.37,16.815,3.63), (43.565,3.37,43.825,3.63), (21.025,4.22,21.285,4.48), (2.85,5.07,3.11,5.33), (16.555,6.66,16.815,6.92), (36.845,6.66,37.105,6.92), (21.025,7.51,21.285,7.77), (43.565,7.51,43.825,7.77), (38.005,8.36,38.265,8.62), (47.135,9.21,47.395,9.47), (2.85,10.06,3.11,10.32)])
R(strongarm_strip_v2_1, metal3, [(1.25,0.36,1.65,1.17), (21.82,1.13,22.26,3.72), (26.46,1.13,26.9,4.57), (12.54,1.245,12.98,3.72), (17.18,1.245,17.62,4.57), (31.1,1.245,31.54,2.87), (35.74,1.245,36.18,2.02), (40.52,1.26,40.96,4.57), (44.36,1.26,44.8,2.87), (48.2,1.26,48.64,3.72), (52.04,1.26,52.48,4.57), (8.84,1.58,9.28,2.395), (10,1.58,10.44,2.395), (14.64,1.58,15.08,2.395), (15.84,1.58,16.28,5.53), (20.48,1.58,20.92,4.28), (29.76,1.58,30.2,5.53), (46.72,1.58,47.16,4.03), (19.28,1.88,19.72,3.72), (23.92,1.88,24.36,4.57), (28.56,1.995,29,3.72), (33.2,1.995,33.64,4.57), (41.68,2.01,42.12,4.57), (45.52,2.01,45.96,4.57), (11.2,2.43,11.64,5.53), (25.12,2.43,25.56,4.28), (34.4,2.43,34.84,5.53), (42.88,2.43,43.32,4.03), (49.96,2.43,50.4,4.03), (38.44,3.28,38.88,4.03), (2.76,4.98,3.2,5.53), (3.07,5.83,3.51,10.41), (7.33,5.83,7.77,10.41), (11.99,5.83,12.43,10.41), (15.65,5.83,16.09,8.71), (20.91,5.83,21.35,7.01), (26.17,5.83,26.61,10.41), (30.43,5.83,30.87,10.41), (35.09,5.83,35.53,10.41), (38.75,5.83,39.19,7.86), (42.41,5.83,42.85,7.01), (46.07,5.83,46.51,8.71), (49.73,5.83,50.17,9.56), (4.37,6.57,4.81,8.87), (6.11,6.57,6.55,9.375), (18.55,6.57,18.99,8.87), (27.47,6.57,27.91,8.87), (29.21,6.57,29.65,9.375), (8.67,7.42,9.11,10.125), (13.29,7.42,13.73,8.87), (47.37,7.42,47.81,8.87), (51.03,7.42,51.47,8.87), (23.81,8.27,24.25,8.87), (31.77,8.27,32.21,10.125), (36.39,8.27,36.83,8.87), (40.05,8.47,40.49,9.56), (43.71,8.47,44.15,9.56)])
R(strongarm_strip_v2_1, metal4, [(0.9,0.73,52.84,1.17), (37.915,1.56,38.355,2.04), (8.86,1.58,15.06,2.02), (15.86,1.58,20.9,2.02), (29.78,1.58,47.14,2.02), (36.755,2.41,37.195,2.89), (47.045,2.41,47.485,2.89), (11.22,2.43,25.54,2.87), (31.12,2.43,43.3,2.87), (44.38,2.43,50.38,2.87), (16.465,3.26,16.905,3.74), (43.475,3.26,43.915,3.74), (12.56,3.28,28.98,3.72), (38.46,3.28,48.62,3.72), (20.935,4.11,21.375,4.59), (17.2,4.13,33.62,4.57), (40.54,4.13,42.1,4.57), (45.54,4.13,52.46,4.57), (2.76,4.96,3.2,5.44), (2.78,4.98,19.345,5.42), (16.465,6.55,16.905,7.03), (36.755,6.55,37.195,7.03), (4.39,6.57,16.885,7.01), (18.57,6.57,42.83,7.01), (20.935,7.4,21.375,7.88), (43.475,7.4,43.915,7.88), (8.69,7.42,21.355,7.86), (38.77,7.42,51.45,7.86), (37.915,8.25,38.355,8.73), (15.67,8.27,46.49,8.71), (47.045,9.1,47.485,9.58), (40.07,9.12,50.15,9.56), (2.76,9.95,3.2,10.43), (1.8,9.97,52.84,10.41)])
R(strongarm_strip_v2_1, metal5, [(37.915,1.58,38.355,8.71), (36.755,2.43,37.195,7.01), (47.045,2.43,47.485,9.56), (16.465,3.28,16.905,7.01), (43.475,3.28,43.915,7.86), (20.935,4.13,21.375,7.86), (2.76,4.98,3.2,10.41)])
strongarm_strip_v2_1.add(gdstk.Label('vdd', (26.96,11.2), layer=34, texttype=10))
strongarm_strip_v2_1.add(gdstk.Label('vss', (27.32,0.58), layer=34, texttype=10))
strongarm_strip_v2_1.add(gdstk.Label('inp', (18.38,2.65), layer=46, texttype=10))
strongarm_strip_v2_1.add(gdstk.Label('inn', (18.38,1.8), layer=46, texttype=10))
strongarm_strip_v2_1.add(gdstk.Label('Q', (47.38,2.65), layer=46, texttype=10))
strongarm_strip_v2_1.add(gdstk.Label('Q', (45.11,9.34), layer=46, texttype=10))
strongarm_strip_v2_1.add(gdstk.Label('Q_bar', (43.54,3.5), layer=46, texttype=10))
strongarm_strip_v2_1.add(gdstk.Label('Q_bar', (45.11,7.64), layer=46, texttype=10))
strongarm_strip_v2_1.add(gdstk.Label('clk', (11.06,5.2), layer=46, texttype=10))
strongarm_strip_v2_1.add(gdstk.Label('clk', (27.32,10.19), layer=46, texttype=10))
strongarm_strip_v2_1.add(gdstk.Label('vss', (27.32,0.95), layer=46, texttype=10))

lib.write_gds('strongarm_strip_v2_1.gds')
